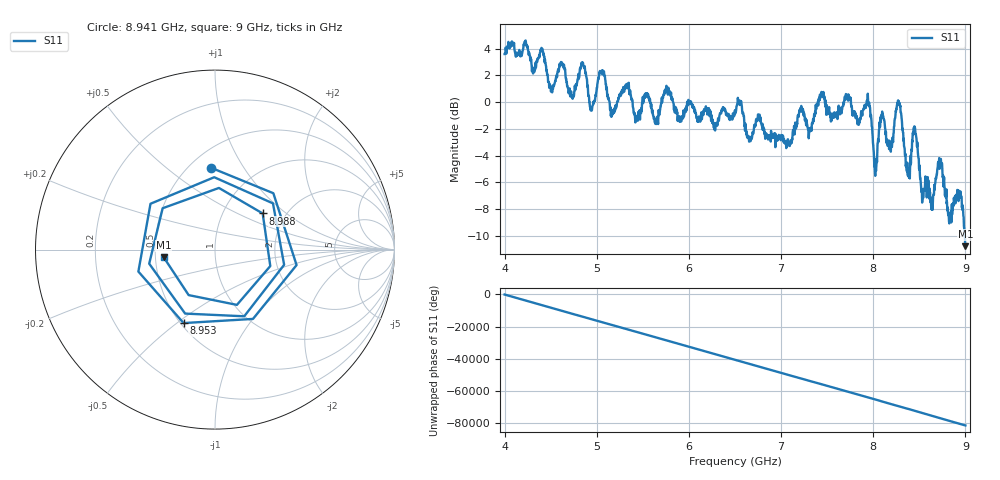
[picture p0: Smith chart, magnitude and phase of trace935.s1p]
! Created with skrf 1.8.0 (http://scikit-rf.org).
# Hz S RI R 50.0
!freq ReS11 ImS11
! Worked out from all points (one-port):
!   1601 points, 4 GHz to 9 GHz, reference 50 ohm
!   lowest |S11| = -10.8 dB at 9 GHz (marker M1), VSWR 1.81, Z = 27.7 - j2.59 ohm
!   |S11| at or under -10 dB: 8.995136 GHz to end of sweep
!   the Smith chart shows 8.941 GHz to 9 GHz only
!   S11 on the Smith chart (normalised r, x): 8.941 GHz: 0.64, +0.73; 8.953 GHz: 0.52, -0.53; 8.988 GHz: 1.53, +0.69; 9 GHz: 0.55, -0.05
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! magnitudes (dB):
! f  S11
! 4 GHz  3.6
! 4.406 GHz  4.0
! 4.509 GHz  0.9
! 4.625 GHz  2.9
! 4.734 GHz  0.3
! 4.856 GHz  2.7
! 4.944 GHz  -0.6
! 5.053 GHz  2.3
! 5.166 GHz  -0.6
! 5.25 GHz  0.6
! 5.875 GHz  -0.8
! 6.5 GHz  -0.6
! 7.125 GHz  -2.4
! 7.75 GHz  0.2
! 7.95 GHz  -0.1
! 8.022 GHz  -5.5
! 8.088 GHz  -1.0
! 8.181 GHz  -3.0
! 8.278 GHz  0.0
! 8.375 GHz  -5.5
! 8.447 GHz  -1.8
! 8.534 GHz  -6.9
! 8.722 GHz  -4.6
! 8.825 GHz  -9.1
! 8.941 GHz  -6.8
! 8.953 GHz  -7.0
! 8.988 GHz  -9.5
! 9 GHz  -10.8
